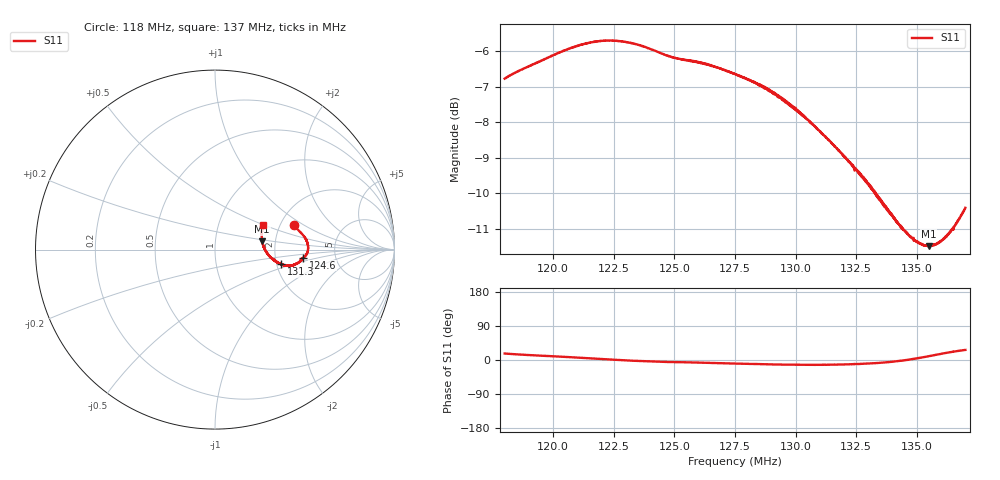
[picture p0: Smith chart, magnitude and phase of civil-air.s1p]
! Calibrated averaged scanner-service zoom
# Hz S RI R 50
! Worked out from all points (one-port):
!   2001 points, 118 MHz to 137 MHz, reference 50 ohm
!   lowest |S11| = -11.5 dB at 135.5 MHz (marker M1), VSWR 1.73, Z = 85 + j8.37 ohm
!   |S11| at or under -10 dB: 133.2656 MHz to 133.2797 MHz (14.16 kHz wide, 0.0106 % of centre); 133.3 MHz to end of sweep
!   S11 on the Smith chart (normalised r, x): 118 MHz: 2.37, +0.81; 124.6 MHz: 2.91, -0.34; 131.3 MHz: 2.12, -0.40; 137 MHz: 1.65, +0.49
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1.18e8  0.4382 0.1351
1.188265e8  0.4611 0.112
1.20375e8  0.4957 0.074
1.21021e8  0.5076 0.0558
1.21648e8  0.5154 0.0359
1.2218e8  0.5188 0.0178
1.2275e8  0.518 -0.0011
1.23795e8  0.5074 -0.0302
1.241845e8  0.5008 -0.0381
1.246405e8  0.493 -0.0443
1.25125e8  0.4872 -0.0483
1.26246e8  0.4781 -0.062
1.275e8  0.4594 -0.0753
1.287635e8  0.4372 -0.0869
1.29875e8  0.409 -0.0903
1.30692e8  0.3859 -0.0881
1.312905e8  0.3691 -0.0818
1.3225e8  0.3427 -0.0674
1.329815e8  0.3222 -0.0529
1.33485e8  0.308 -0.0402
1.34093e8  0.2906 -0.0197
1.34625e8  0.2769 0.00242
1.35062e8  0.2688 0.0237
1.3548e8  0.2622 0.0457
1.358125e8  0.2604 0.0654
1.361545e8  0.26 0.0847
1.365345e8  0.2626 0.1079
1.37e8  0.2697 0.1348
